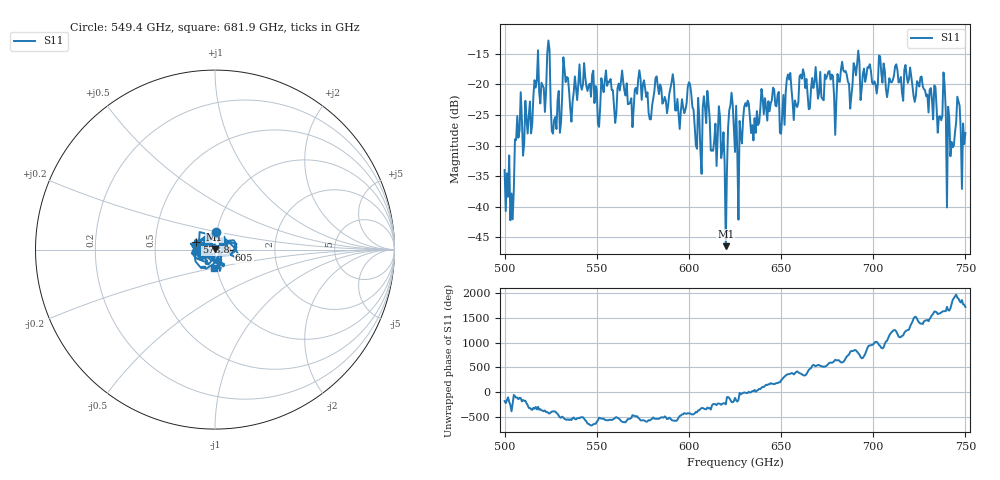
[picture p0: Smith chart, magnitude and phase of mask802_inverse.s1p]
!Created with skrf (http://scikit-rf.org).
# GHz S MA R 50.0
!freq magS11 angS11
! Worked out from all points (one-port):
!   401 points, 500 GHz to 750 GHz, reference 50 ohm
!   lowest |S11| = -46.5 dB at 620 GHz (marker M1), VSWR 1.01, Z = 49.8 + j0.408 ohm
!   |S11| at or under -10 dB: start of sweep to end of sweep
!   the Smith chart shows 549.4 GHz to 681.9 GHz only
!   S11 on the Smith chart (normalised r, x): 549.4 GHz: 0.99, +0.19; 573.8 GHz: 0.81, +0.07; 605 GHz: 1.17, -0.01; 681.9 GHz: 0.97, -0.21
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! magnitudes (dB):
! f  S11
! 500 GHz  -34.0
! 504.4 GHz  -42.1
! 507.5 GHz  -28.7
! 513.8 GHz  -22.8
! 516.9 GHz  -20.5
! 523.8 GHz  -12.8
! 526.9 GHz  -25.8
! 531.2 GHz  -21.9
! 549.4 GHz  -20.3
! 562.5 GHz  -21.0
! 573.8 GHz  -19.1
! 593.8 GHz  -22.4
! 600.6 GHz  -20.0
! 605 GHz  -22.2
! 609.4 GHz  -26.3
! 620 GHz  -46.5
! 622.5 GHz  -23.4
! 625 GHz  -31.1
! 627.5 GHz  -26.0
! 631.2 GHz  -23.6
! 656.2 GHz  -22.9
! 681.9 GHz  -19.6
! 687.5 GHz  -24.0
! 718.8 GHz  -19.7
! 738.1 GHz  -18.0
! 741.2 GHz  -25.4
! 745.6 GHz  -22.0
! 750 GHz  -28.0
